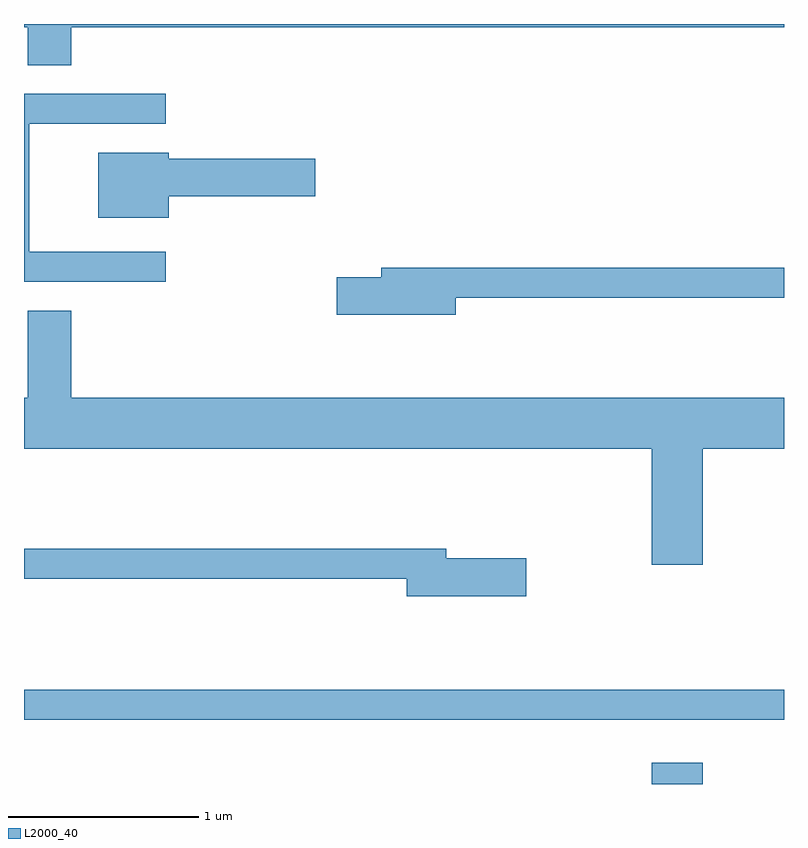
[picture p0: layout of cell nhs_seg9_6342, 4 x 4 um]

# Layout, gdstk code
import gdstk
lib = gdstk.Library(unit=1e-6, precision=1e-09)
def R(c, l, rs):  # rectangles x0, y0, x1, y1
    for r in rs: c.add(gdstk.rectangle(r[:2], r[2:], *l))
def P(c, l, *ps):  # polygons
    for p in ps: c.add(gdstk.Polygon(p, *l))
L2000_40 = (2000, 40)

nhs_seg9_6342 = lib.new_cell('nhs_seg9_6342')
R(nhs_seg9_6342, L2000_40, [(374.916,2054.432,375.184,2054.544), (371.611,2054.771,375.611,2054.929)])
P(nhs_seg9_6342, L2000_40, [(371.859,2058.416),(375.611,2058.416),(375.611,2058.432),(371.611,2058.432),(371.611,2058.416),(371.631,2058.416),(371.631,2058.216),(371.859,2058.216)],
  [(372.358,2057.234),(371.639,2057.234),(371.639,2057.906),(372.358,2057.906),(372.358,2058.064),(371.611,2058.064),(371.611,2057.076),(372.358,2057.076)],
  [(372.374,2057.526),(373.144,2057.526),(373.144,2057.724),(372.374,2057.724),(372.374,2057.754),(372.001,2057.754),(372.001,2057.411),(372.374,2057.411)],
  [(373.884,2056.991),(375.611,2056.991),(375.611,2057.149),(373.491,2057.149),(373.491,2057.099),(373.256,2057.099),(373.256,2056.901),(373.884,2056.901)],
  [(375.184,2056.196),(375.611,2056.196),(375.611,2056.464),(371.859,2056.464),(371.859,2056.924),(371.631,2056.924),(371.631,2056.464),(371.611,2056.464),(371.611,2056.196),(374.916,2056.196),(374.916,2055.586),(375.184,2055.586)],
  [(374.254,2055.619),(373.834,2055.619),(373.834,2055.669),(371.611,2055.669),(371.611,2055.511),(373.626,2055.511),(373.626,2055.421),(374.254,2055.421)])

lib.write_gds('nhs_seg9_6342.gds')
